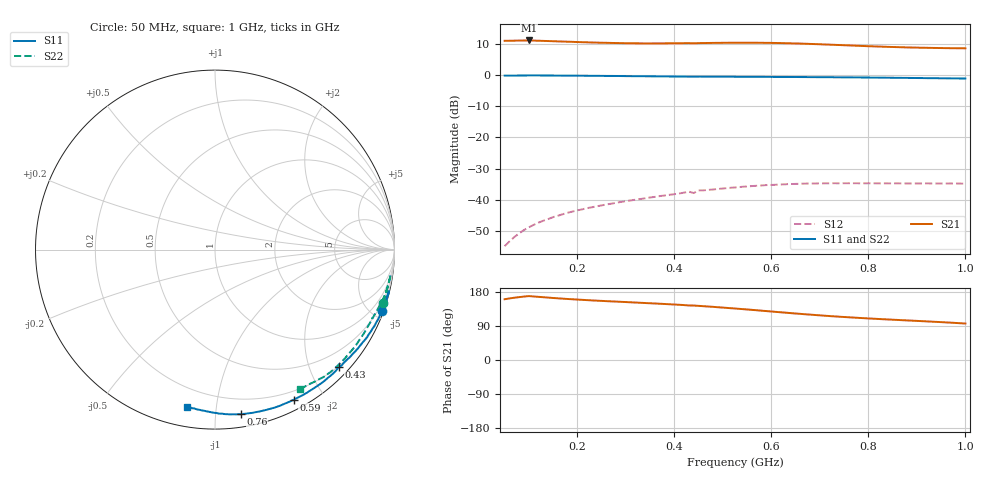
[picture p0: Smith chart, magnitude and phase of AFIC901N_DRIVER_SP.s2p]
! Copyright - Freescale Semiconductor, Inc. 2016
! 01/21/2016
! Rev 0
! AFIC901N Driver S-Parameters
! Vdd=7.5 Vdc, IDQ=8mA
# hz S ma R 50
! freq  magS11  angS11  magS21  angS21  magS12  angS12  magS22  angS22
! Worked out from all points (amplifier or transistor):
!   96 points, 50 MHz to 1 GHz, reference 50 ohm
!   highest |S21| = 11.2 dB at 100 MHz (marker M1)
!   |S21| within 3 dB of that: start of sweep to end of sweep
!   unconditionally stable (mu >= 1): nowhere
!   at 210 MHz: K = 0.07, MSG = 26.9 dB, |S12| = -43.1 dB
!   at 530 MHz: K = 0.13, MSG = 23.3 dB, |S12| = -36.0 dB
!   at 1 GHz: K = 0.39, MSG = 21.8 dB, |S12| = -34.9 dB
!   S11 on the Smith chart (normalised r, x): 50 MHz: 0.13, -5.57; 430 MHz: 0.18, -2.49; 590 MHz: 0.11, -1.65; 760 MHz: 0.09, -1.16; 1 GHz: 0.10, -0.83
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5e7  0.9919 -20.3  3.594 160.4  0.001778 70.1  0.9821 -17.5
7e7  0.9914 -16.9  3.615 164.3  0.002494 74.7  0.9842 -13.1
1e8  0.9963 -13.4  3.644 168.7  0.003581 79.2  0.9883 -8.0
1.5e8  0.9929 -19.2  3.542 163.7  0.005218 74.6  0.984 -11.3
1.8e8  0.9893 -22.2  3.479 161.0  0.006143 72.5  0.9822 -13.1
2.1e8  0.9858 -24.9  3.417 158.7  0.006966 69.8  0.98 -14.5
2.5e8  0.9801 -28.3  3.348 156.0  0.008058 67.5  0.9763 -16.3
3.1e8  0.9707 -32.9  3.282 152.3  0.009688 64.5  0.97 -18.4
3.7e8  0.9621 -37.7  3.273 148.5  0.01139 61.4  0.9637 -20.6
4.1e8  0.9554 -41.3  3.283 145.7  0.01254 58.9  0.959 -22.5
4.3e8  0.9516 -43.6  3.301 143.9  0.01339 53.0  0.955 -23.6
4.4e8  0.9513 -43.7  3.275 143.7  0.01274 67.0  0.9575 -23.5
4.5e8  0.954 -45.2  3.303 142.9  0.01406 56.9  0.9569 -24.5
4.8e8  0.9517 -48.6  3.328 140.2  0.01455 53.9  0.9539 -26.3
5.3e8  0.9486 -54.7  3.35 135.4  0.01577 49.4  0.9513 -29.8
5.9e8  0.9445 -62.4  3.334 129.1  0.01712 43.8  0.9483 -34.3
6.5e8  0.9403 -69.9  3.262 122.7  0.01788 38.1  0.944 -39.0
6.9e8  0.9356 -74.4  3.185 118.8  0.01816 34.4  0.9421 -41.8
7.6e8  0.9279 -81.1  3.032 112.7  0.01834 29.0  0.9382 -46.2
8e8  0.9222 -84.4  2.946 109.7  0.0183 26.5  0.9347 -48.4
8.5e8  0.9145 -88.1  2.859 106.3  0.01824 23.7  0.9285 -50.6
1e9  0.8889 -100.1  2.722 96.3  0.01806 15.4  0.9102 -58.5
